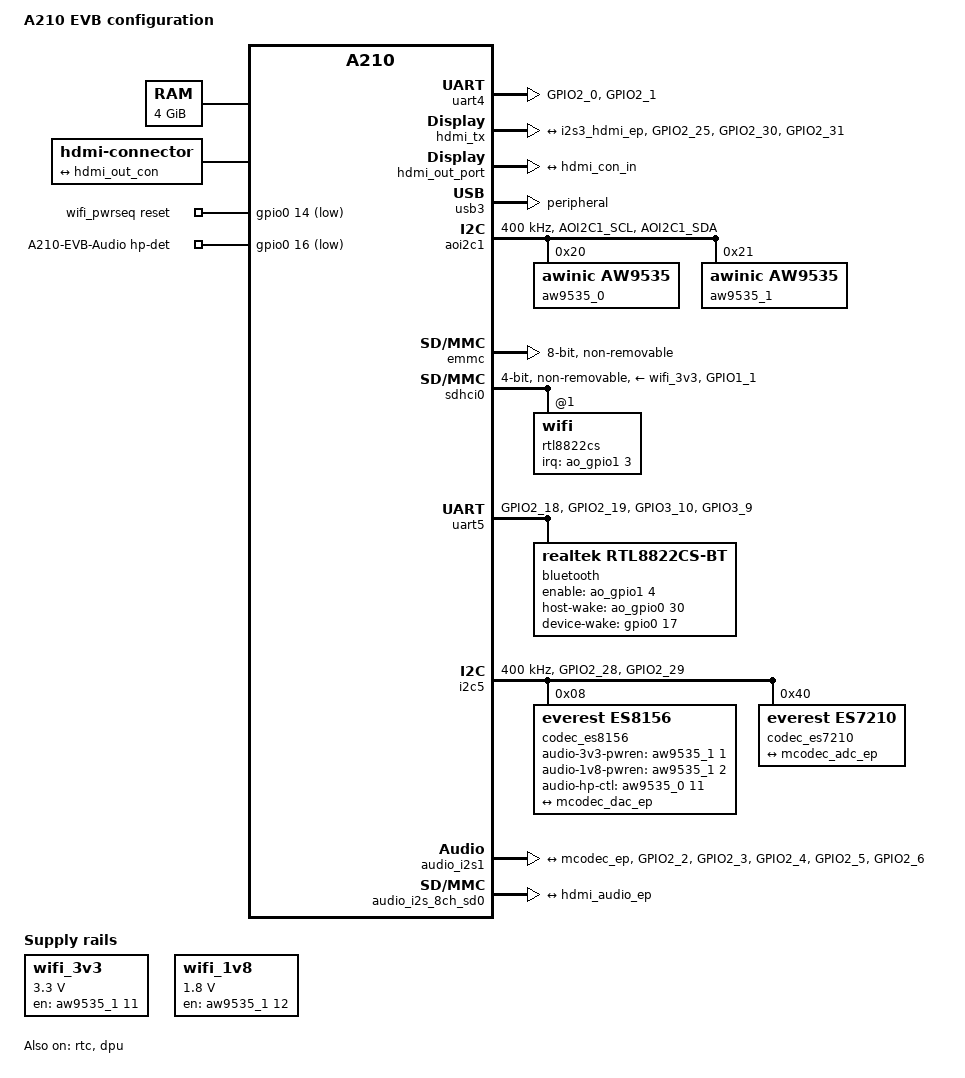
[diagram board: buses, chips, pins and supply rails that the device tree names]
// SPDX-License-Identifier: GPL-2.0

/dts-v1/;

#include <dt-bindings/gpio/gpio.h>
#include "a210.dtsi"
#include "a210-android-unused.dtsi"

/ {
	model = "A210 EVB configuration";
	compatible = "zhihe,a210-evb", "zhihe,a210";

	aliases {
		gpio0 = &gpio0;
		gpio1 = &gpio1;
		gpio2 = &gpio2;
		gpio3 = &gpio3;
		gpio4 = &gpio4;

		mmc0 = &emmc;
		serial4 = &uart4;
	};

	/* The actual capacity will be adjusted through SPL */
	memory@0 {
		device_type = "memory";
		reg = <0x00 0x80000000  0x01 0x00000000>; /* 4G */
		numa-node-id = <0>;
	};

	reserved-memory {
		#address-cells = <2>;
		#size-cells = <2>;
		ranges;

		linux,cma {
			compatible = "shared-dma-pool";
			reusable;
			size = <0x00 0x40000000>;
			alloc-ranges = <0x00 0x90000000 0x00 0x40000000>;
			linux,cma-default;
		};

		memory@1c000000 {
			reg = <0x00 0x1c000000 0x00 0x2000000>;
			no-map;
		};

		memblock-memory@17b800000 {
			reg = <0x01 0x7b800000 0x00 0x04000000>;
			no-map;
		};
	};

	/* The bootargs in U-Boot will override the configuration set here. */
	chosen {
		stdout-path = "serial4";
	};

	hdmi-connector {
		compatible = "hdmi-connector";
		type = "a";

		port {
			hdmi_con_in: endpoint {
				remote-endpoint = <&hdmi_out_con>;
			};
		};
	};
};

&peri2_padctrl {
	uart4_pins: uart4-0 {
		tx-pins {
			pins = "GPIO2_0";
			function = "uart4";
			bias-disable;
			drive-strength = <3>;
			input-disable;
			input-schmitt-disable;
			slew-rate = <0>;
		};

		rx-pins {
			pins = "GPIO2_1";
			function = "uart4";
			bias-disable;
			drive-strength = <1>;
			input-enable;
			input-schmitt-enable;
			slew-rate = <0>;
		};
	};

	hdmi_pins: hdmi-0 {
		hdmi-pins {
			pins = "GPIO2_25", "GPIO2_30", "GPIO2_31";
			function = "hdmi";
			bias-disable;
			drive-strength = <3>;
			input-enable;
			input-schmitt-disable;
			slew-rate = <0>;
		};
	};
};

&uart4 {
	pinctrl-names = "default";
	pinctrl-0 = <&uart4_pins>;
};

&rtc {
	status = "okay";
};

&dpu {
	status = "okay";
};

&hdmi_tx {
	pinctrl-names = "default";
	pinctrl-0 = <&hdmi_pins>;
	status = "okay";
};

&hdmi_out_port {
	hdmi_out_con: endpoint {
		remote-endpoint = <&hdmi_con_in>;
	};
};

&usb3 {
	dr_mode = "peripheral";
};

&aon_padctrl {
	aoi2c1_pins: aoi2c1-0 {
		i2c-pins {
			pins = "AOI2C1_SCL", "AOI2C1_SDA";
			function = "aoi2c1";
			bias-disable;
			drive-strength = <7>;
			input-enable;
			input-schmitt-enable;
			slew-rate = <0>;
		};
	};
};

&aoi2c1 {
	pinctrl-names = "default";
	pinctrl-0 = <&aoi2c1_pins>;
	clock-frequency = <400000>;
	status = "okay";

	/*
	 * HP_CTL_H (P13, index 11) enables the headset jack output.
	 * "nxp,pca9535" fallback: gpio-pca953x has no awinic,aw9535 match.
	 * The INT line is left unused (nothing consumes expander interrupts).
	 */
	aw9535_0: gpio@20 {
		compatible = "awinic,aw9535", "nxp,pca9535";
		reg = <0x20>;
		gpio-controller;
		#gpio-cells = <2>;
		gpio-line-names =
			"CSI1_PWDN_IO0", "CSI1_RST_IO1", "CSI1_FSIN_IO2", "CSI0_PWDN_IO3",
			"CSI0_RST_IO4", "CSI0_FSIN_IO5", "PCIE_X1_PRSNT_L_IO6", "PCIE_X4_PRSNT_L_IO7",
			"AUDIO1_PARST0_IO8", "AUDIO_ADC1_INT_IO9", "AUDIO_ADC0_INT_IO10", "HP_CTL_H_IO11",
			"SIT91211_SSC_EN_IO12", "DISP_RST_IO13", "SWITCH3_SEL_IO14", "SWITCH1_SEL_IO15";
	};

	aw9535_1: gpio@21 {
		compatible = "awinic,aw9535", "nxp,pca9535";
		reg = <0x21>;
		gpio-controller;
		#gpio-cells = <2>;
		gpio-line-names =
			"PCIE_BAT_EN", "AUDIO_3V3_PWREN", "AUDIO_1V8_PWREN", "MIPI_CSI0_PWREN",
			"MIPI_CSI1_PWREN", "MIPI_TP_PWREN", "PCIE_3V3_EN", "PCIE_12V_EN",
			"USBCON_PWREN", "USBCON1_PWREN", "PCIE_3V3_AUX_EN", "SDIO_3V3_PWREN",
			"SDIO_1V8_PWREN", "SIT91211_3V3_EN", "MIPI_DSI_PWREN", "BL_EN";
	};
};

&usb20phy0 {
	pwren-gpios = <&aw9535_1 8 GPIO_ACTIVE_HIGH>;
};

&usb20phy1 {
	pwren-gpios = <&aw9535_1 9 GPIO_ACTIVE_HIGH>;
};

&clk_gpu {
	status = "okay";
};

&power_gpu {
	status = "okay";
};

&emmc {
	max-frequency = <196608000>;
	non-removable;
	mmc-hs400-1_8v;
	mmc-hs200-1_8v;
	no-sdio;
	no-sd;
	bus-width = <8>;
	cap-mmc-highspeed;
};

&cluster0_opp {
	opp0-500000000 {
		opp-microvolt = <1000000>;
	};
	opp0-1200000000 {
		opp-microvolt = <1000000>;
	};
	opp0-1500000000 {
		opp-microvolt = <1000000>;
	};
	opp0-1698000000 {
		opp-microvolt = <1000000>;
	};
	opp0-1896000000 {
		opp-microvolt = <1000000>;
	};
};

&cluster1_opp {
	opp1-500000000 {
		opp-microvolt = <1000000>;
	};
	opp1-1698000000 {
		opp-microvolt = <1000000>;
	};
	opp1-1896000000 {
		opp-microvolt = <1000000>;
	};
	opp1-2298000000 {
		opp-microvolt = <1000000>;
	};
};

/*
 * WiFi/BT: Realtek RTL8822CS on an O-Net (Fn-Link) 6222B-SRC module.
 * WiFi is on the SDIO host (sdhci0), BT is on UART5 speaking H5.
 */
/ {
	wifi_3v3: regulator-wifi-3v3 {
		compatible = "regulator-fixed";
		regulator-name = "wifi_vdd_3v3";
		regulator-min-microvolt = <3300000>;
		regulator-max-microvolt = <3300000>;
		gpio = <&aw9535_1 11 GPIO_ACTIVE_HIGH>;
		enable-active-high;
		startup-delay-us = <1000>;
	};

	wifi_1v8: regulator-wifi-1v8 {
		compatible = "regulator-fixed";
		regulator-name = "wifi_vdd_1v8";
		regulator-min-microvolt = <1800000>;
		regulator-max-microvolt = <1800000>;
		gpio = <&aw9535_1 12 GPIO_ACTIVE_HIGH>;
		enable-active-high;
		startup-delay-us = <1000>;
	};

	wifi_pwrseq: wifi-pwrseq {
		compatible = "mmc-pwrseq-simple";
		reset-gpios = <&gpio0 14 GPIO_ACTIVE_LOW>;
		post-power-on-delay-ms = <200>;
	};
};

&peri1_padctrl {
	sdhci_pins: sdhci0-1 {
		sd-pins {
			pins = "GPIO1_1";
			function = "sdio";
			bias-disable;
			drive-strength = <13>;
			input-enable;
			input-schmitt-enable;
			slew-rate = <0>;
		};
	};
};

&peri2_padctrl {
	uart5_pins: uart5-0 {
		uart-pins {
			pins = "GPIO2_18", "GPIO2_19";	/* TXD, RXD */
			function = "uart5";
			bias-disable;
			drive-strength = <7>;
			input-enable;
			input-schmitt-enable;
			slew-rate = <0>;
		};
	};

	uart5_rts_cts_pins: uart5-1 {
		uart-pins {
			pins = "GPIO3_10", "GPIO3_9";	/* RTSN, CTSN */
			function = "uart5";
			bias-disable;
			drive-strength = <7>;
			input-enable;
			input-schmitt-enable;
			slew-rate = <0>;
		};
	};
};

&sdhci0 {
	status = "okay";
	pinctrl-names = "default";
	pinctrl-0 = <&sdhci_pins>;
	bus-width = <4>;
	non-removable;
	no-sd;
	no-mmc;
	cap-sd-highspeed;
	sd-uhs-sdr104;
	max-frequency = <196608000>;

	mmc-ddr-1_8v;
	post-power-on-delay-ms = <200>;
	vmmc-supply = <&wifi_3v3>;
	vqmmc-supply = <&wifi_1v8>;
	mmc-pwrseq = <&wifi_pwrseq>;

	#address-cells = <1>;
	#size-cells = <0>;

	rtl8822cs: wifi@1 {
		reg = <1>;
		interrupt-parent = <&ao_gpio1>;
		interrupts = <3 IRQ_TYPE_LEVEL_LOW>;
		interrupt-names = "host-wake";
	};
};

&uart5 {
	status = "okay";
	pinctrl-names = "default";
	pinctrl-0 = <&uart5_pins>, <&uart5_rts_cts_pins>;
	uart-has-rtscts;

	bluetooth {
		compatible = "realtek,rtl8822cs-bt";
		enable-gpios = <&ao_gpio1 4 GPIO_ACTIVE_HIGH>;
		host-wake-gpios = <&ao_gpio0 30 GPIO_ACTIVE_HIGH>;
		device-wake-gpios = <&gpio0 17 GPIO_ACTIVE_HIGH>;
	};
};

/*
 * Audio (A210 SODIMM V2 baseboard): I2S1 <-> ES8156 (DAC, I2C5 0x08) /
 * ES7210 (ADC, I2C5 0x40), on the 3.5mm headset jack.
 * ES8156 LOUT/ROUT drive the headphones (output enabled by HP_CTL_H on
 * aw9535_0 P13), the headset mic goes to the ES7210. Jack insertion is
 * reported by HP_DET_L on GPIO0_16. There is no speaker amplifier on V2.
 * Both codecs are I2S clock consumers - I2S1 provides BCLK/LRCK (stated
 * with bitclock-master/frame-master on its endpoint).
 * audio-graph-card2 "Semi-Multi" link (CPU:Codec = 1:2): both codecs
 * share the single I2S1 DAI link, so the card exposes one PCM device
 * (device 0) with playback (ES8156, playback-only) and capture (ES7210,
 * capture-only).
 *
 * HDMI audio: I2S3 SD0 feeds the dw-hdmi I2S audio input internally (no
 * pins), as a second card link -> PCM device 1. The HDMI DAI of the I2S
 * driver is DAI 1, so the link sits on port@1 of the I2S node.
 */
/ {
	sound {
		compatible = "audio-graph-card2";
		label = "A210-EVB-Audio";
		links = <&i2s1_port>, <&i2s3_hdmi_port>;
		/* "Headphones" is the DAPM pin driven by hp-det-gpios */
		widgets = "Headphone", "Headphones";
		routing = "Headphones", "ES8156 LOUT",
			  "Headphones", "ES8156 ROUT";
		hp-det-gpios = <&gpio0 16 GPIO_ACTIVE_LOW>;

		multi {
			#address-cells = <1>;
			#size-cells = <0>;

			ports@0 {
				reg = <0>;
				#address-cells = <1>;
				#size-cells = <0>;

				/* (X) to pair with the CPU */
				port@0 {
					reg = <0>;
					mcodec_ep: endpoint {
						remote-endpoint = <&i2s1_ep>;
					};
				};

				/* (A) Multi element: playback DAC */
				port@1 {
					reg = <1>;
					mcodec_dac_ep: endpoint {
						remote-endpoint = <&es8156_ep>;
					};
				};

				/* (B) Multi element: capture ADC */
				port@2 {
					reg = <2>;
					mcodec_adc_ep: endpoint {
						remote-endpoint = <&es7210_ep>;
					};
				};
			};
		};
	};
};

&peri2_padctrl {
	i2c5_pins: i2c5-1 {
		i2c-pins {
			pins = "GPIO2_28", "GPIO2_29";	/* SCL, SDA */
			function = "i2c5";
			bias-disable;
			drive-strength = <7>;
			input-enable;
			input-schmitt-enable;
			slew-rate = <0>;
		};
	};

	i2s1_pins: i2s1-0 {
		i2s-pins {
			pins = "GPIO2_2", "GPIO2_3", "GPIO2_4", "GPIO2_5", "GPIO2_6";
			function = "i2s1";
			bias-disable;
			drive-strength = <13>;
			input-schmitt-disable;
			slew-rate = <0>;
		};
	};
};

&i2c5 {
	pinctrl-names = "default";
	pinctrl-0 = <&i2c5_pins>;
	clock-frequency = <400000>;
	status = "okay";

	codec_es8156: audio-codec@8 {
		compatible = "everest,es8156";
		reg = <0x8>;
		#sound-dai-cells = <1>;
		sound-name-prefix = "ES8156";
		mclk-sclk-ratio = <4>;
		audio-3v3-pwren-gpios = <&aw9535_1 1 GPIO_ACTIVE_HIGH>;
		audio-1v8-pwren-gpios = <&aw9535_1 2 GPIO_ACTIVE_HIGH>;
		audio-hp-ctl-gpios = <&aw9535_0 11 GPIO_ACTIVE_HIGH>;

		port {
			es8156_ep: endpoint {
				remote-endpoint = <&mcodec_dac_ep>;
			};
		};
	};

	codec_es7210: audio-codec@40 {
		compatible = "everest,es7210";
		reg = <0x40>;
		#sound-dai-cells = <1>;
		work-mode = "ES7210_NORMAL_I2S";
		channels-max = <2>;
		mclk-sclk-ratio = <4>;
		sound-name-prefix = "ES7210";

		port {
			es7210_ep: endpoint {
				remote-endpoint = <&mcodec_adc_ep>;
			};
		};
	};
};

&audio_i2s1 {
	pinctrl-names = "default";
	pinctrl-0 = <&i2s1_pins>;
	status = "okay";

	/*
	 * DAI 0 (pcm-i2s1-dai). I2S1 is the BCLK/LRCK provider: with
	 * audio-graph-card2 the provider must be stated on the CPU endpoint,
	 * otherwise the CPU DAI is set up as clock consumer (BC_FC) and,
	 * the codecs being consumers too, nobody drives BCLK/LRCK - the I2S
	 * never requests DMA data.
	 */
	i2s1_port: port {
		i2s1_ep: endpoint {
			remote-endpoint = <&mcodec_ep>;
			dai-format = "i2s";
			bitclock-master;
			frame-master;
		};
	};
};

&audio_i2s_8ch_sd0 {
	multi-channels = <2>;
	status = "okay";

	ports {
		#address-cells = <1>;
		#size-cells = <0>;

		i2s3_hdmi_port: port@1 {
			reg = <1>;
			i2s3_hdmi_ep: endpoint {
				remote-endpoint = <&hdmi_audio_ep>;
				dai-format = "i2s";
				playback-only;
				bitclock-master;
				frame-master;
			};
		};
	};
};

&hdmi_tx {
	ports {
		port@2 {
			reg = <2>;
			hdmi_audio_ep: endpoint {
				remote-endpoint = <&i2s3_hdmi_ep>;
			};
		};
	};
};
